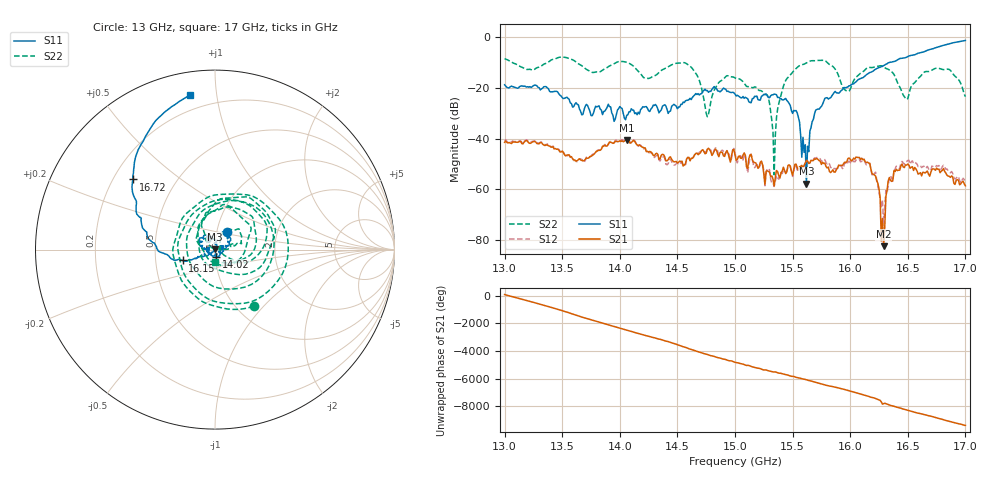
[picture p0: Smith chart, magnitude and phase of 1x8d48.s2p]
!Keysight Technologies,P9374A,MY57211807,A.19.30.04
!Date: Friday, May 08, 2026 15:21:16
!Correction: S11(C  2-Port  )
!S21(C  2-Port  )
!S12(C  2-Port  )
!S22(C  2-Port  )
!S2P File: Measurements: S11, S21, S12, S22:
# Hz S  dB  R 50
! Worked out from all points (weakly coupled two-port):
!   401 points, 13 GHz to 17 GHz, reference 50 ohm
!   highest |S21| = -40.41 dB at 14.06 GHz (marker M1); lowest = -82.4 dB at 16.29 GHz (marker M2)
!   lowest |S11| = -57.7 dB at 15.62 GHz (marker M3), VSWR 1.00, Z = 49.9 + j0.111 ohm
!   |S11| at or under -10 dB: start of sweep to 16.33 GHz
!   |S22| runs from -54.2 to -7.8 dB; largest |S21 - S12| = 0.0012
!   S11 on the Smith chart (normalised r, x): 13 GHz: 1.12, +0.22; 14.02 GHz: 1.01, -0.08; 16.15 GHz: 0.69, -0.09; 16.72 GHz: 0.28, +0.34; 17 GHz: 0.12, +0.85
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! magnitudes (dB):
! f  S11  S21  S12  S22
! 13 GHz  -18.7  -41.4  -40.9  -8.4
! 13.67 GHz  -30.5  -48.5  -48.1  -11.2
! 14.02 GHz  -28.1  -40.8  -40.3  -9.5
! 14.06 GHz  -30.8  -40.4  -40.3  -9.8
! 14.34 GHz  -29.8  -48.0  -48.4  -13.8
! 14.6 GHz  -24.6  -47.4  -47.3  -11.0
! 14.76 GHz  -20.9  -44.1  -44.0  -31.3
! 15 GHz  -22.3  -46.2  -45.2  -16.0
! 15.27 GHz  -22.3  -52.8  -53.6  -22.5
! 15.34 GHz  -22.3  -58.6  -58.8  -54.2
! 15.43 GHz  -24.4  -52.5  -52.9  -18.0
! 15.54 GHz  -29.8  -51.3  -52.2  -11.8
! 15.62 GHz  -57.7  -48.5  -48.8  -10.1
! 15.67 GHz  -33.2  -48.7  -48.7  -9.2
! 15.97 GHz  -19.7  -49.1  -50.2  -21.2
! 16.15 GHz  -14.4  -49.2  -50.1  -11.9
! 16.23 GHz  -12.3  -56.5  -56.2  -11.5
! 16.29 GHz  -11.1  -82.4  -74.3  -11.6
! 16.34 GHz  -9.9  -55.3  -55.3  -12.8
! 16.48 GHz  -8.0  -50.3  -49.2  -23.9
! 16.72 GHz  -4.4  -51.8  -50.8  -12.6
! 17 GHz  -1.2  -58.6  -57.4  -23.4
